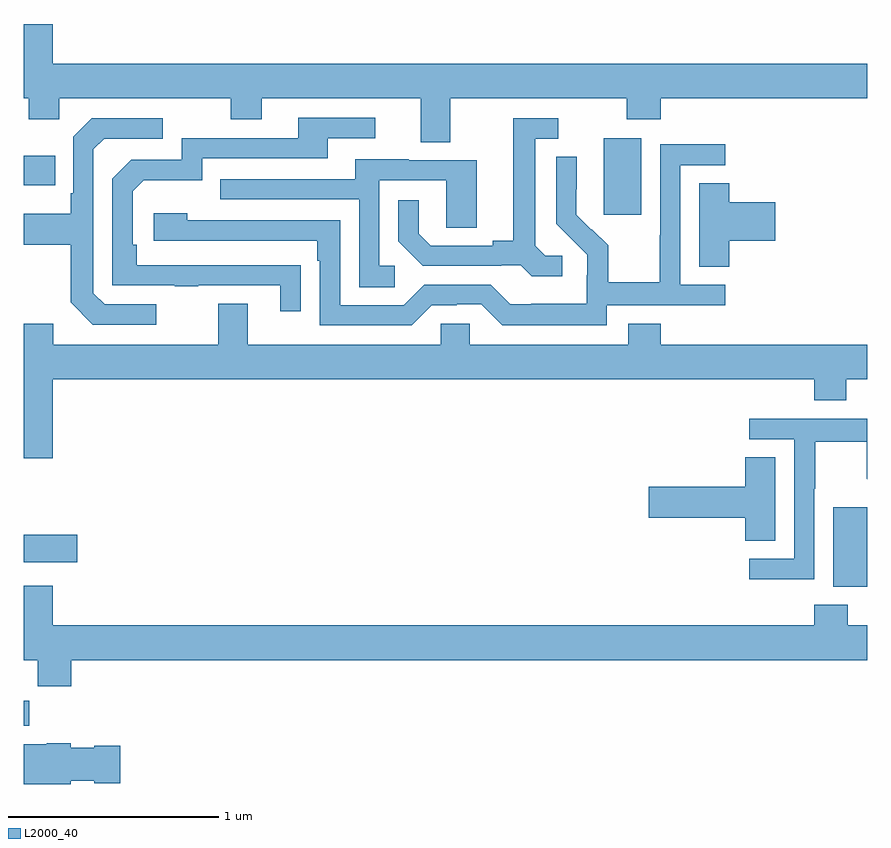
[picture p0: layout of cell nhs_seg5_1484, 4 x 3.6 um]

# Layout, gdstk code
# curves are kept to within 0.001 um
import gdstk
lib = gdstk.Library(unit=1e-6, precision=1e-09)
def R(c, l, rs):  # rectangles x0, y0, x1, y1
    for r in rs: c.add(gdstk.rectangle(r[:2], r[2:], *l))
def P(c, l, *ps):  # polygons
    for p in ps: c.add(gdstk.Polygon(p, *l))
L2000_40 = (2000, 40)

nhs_seg5_1484 = lib.new_cell('nhs_seg5_1484')
R(nhs_seg5_1484, L2000_40, [(201,851.12,201.026,851.239), (204.839,851.78,205,852.157), (201,851.897,201.253,852.027), (203.75,853.545,203.929,853.906), (201,853.685,201.149,853.825)])
P(nhs_seg5_1484, L2000_40, [(203.023,854.096),(203.86,854.096),(203.86,853.997),(204.02,853.997),(204.02,854.096),(205,854.096),(205,854.26),(201.136,854.26),(201.136,854.449),(201,854.449),(201,854.096),(201.022,854.096),(201.022,853.997),(201.168,853.997),(201.168,854.096),(201.982,854.096),(201.982,853.997),(202.129,853.997),(202.129,854.096),(202.883,854.096),(202.883,853.888),(203.023,853.888)],
  [(202.313,853.304),(201.536,853.305),(201.536,853.402),(201.516,853.402),(201.516,853.656),(201.569,853.709),(201.846,853.709),(201.846,853.812),(202.441,853.812),(202.441,853.908),(202.666,853.908),(202.666,854.004),(202.301,854.004),(202.301,853.908),(201.75,853.908),(201.75,853.806),(201.51,853.806),(201.42,853.716),(201.42,853.209),(201.715,853.209),(201.715,853.204),(201.827,853.204),(201.827,853.209),(202.217,853.209),(202.217,853.086),(202.313,853.086)],
  [(203.554,853.35),(203.472,853.35),(203.425,853.397),(203.425,853.905),(203.536,853.905),(203.536,854.001),(203.321,854.001),(203.321,853.421),(203.225,853.421),(203.225,853.398),(202.93,853.398),(202.873,853.455),(202.873,853.612),(202.776,853.612),(202.776,853.418),(202.892,853.302),(203.264,853.302),(203.264,853.305),(203.358,853.305),(203.41,853.253),(203.554,853.253)],
  [(201.628,853.119),(201.384,853.119),(201.33,853.173),(201.33,853.854),(201.381,853.905),(201.658,853.905),(201.658,854.001),(201.321,854.001),(201.234,853.914),(201.234,853.645),(201.222,853.645),(201.222,853.549),(201,853.549),(201,853.402),(201.222,853.402),(201.222,853.129),(201.327,853.023),(201.628,853.023)],
  [(203.766,853.116),(204.328,853.116),(204.328,853.212),(204.114,853.212),(204.114,853.779),(204.328,853.779),(204.328,853.878),(204.018,853.878),(204.018,853.448),(204.016,853.448),(204.016,853.225),(203.771,853.225),(203.771,853.399),(203.694,853.476),(203.691,853.473),(203.621,853.544),(203.622,853.82),(203.526,853.82),(203.526,853.502),(203.672,853.354),(203.672,853.257),(203.67,853.257),(203.67,853.123),(203.407,853.123),(203.407,853.119),(203.307,853.119),(203.214,853.212),(202.899,853.212),(202.803,853.116),(202.5,853.116),(202.5,853.518),(201.776,853.518),(201.776,853.552),(201.615,853.552),(201.615,853.422),(202.391,853.422),(202.391,853.325),(202.404,853.325),(202.404,853.02),(202.839,853.02),(202.935,853.116),(203.054,853.116),(203.054,853.119),(203.169,853.119),(203.269,853.019),(203.766,853.019)],
  [(202.759,853.302),(202.686,853.302),(202.686,853.707),(203.004,853.707),(203.004,853.483),(203.149,853.483),(203.149,853.803),(202.825,853.803),(202.825,853.807),(202.571,853.807),(202.571,853.713),(201.931,853.713),(201.931,853.617),(202.59,853.617),(202.59,853.201),(202.759,853.201)],
  [(204.347,853.421),(204.565,853.421),(204.565,853.604),(204.347,853.604),(204.347,853.694),(204.203,853.694),(204.203,853.297),(204.347,853.297)],
  [(201.136,852.764),(204.749,852.764),(204.749,852.665),(204.901,852.665),(204.901,852.764),(205,852.764),(205,852.928),(204.02,852.928),(204.02,853.027),(203.867,853.027),(203.867,852.928),(203.115,852.928),(203.115,853.026),(202.977,853.026),(202.977,852.928),(202.063,852.928),(202.063,853.123),(201.923,853.123),(201.923,852.928),(201.139,852.928),(201.139,853.027),(201,853.027),(201,852.39),(201.136,852.39)],
  [(204.75,852.244),(204.753,852.244),(204.753,852.468),(204.997,852.468),(204.997,852.293),(205,852.29),(205,852.576),(204.441,852.576),(204.441,852.48),(204.654,852.48),(204.654,851.913),(204.441,851.913),(204.441,851.815),(204.75,851.815)],
  [(204.565,852.395),(204.422,852.395),(204.422,852.254),(203.964,852.254),(203.964,852.107),(204.422,852.107),(204.422,851.998),(204.565,851.998)],
  [(201,851.432),(201.067,851.432),(201.067,851.308),(201.224,851.308),(201.224,851.432),(205,851.432),(205,851.596),(204.909,851.596),(204.909,851.695),(204.749,851.695),(204.749,851.596),(201.136,851.596),(201.136,851.785),(201,851.785)],
  [(201.222,850.859),(201.333,850.859),(201.333,850.847),(201.457,850.847),(201.457,851.025),(201.333,851.025),(201.333,851.017),(201.222,851.017),(201.222,851.038),(201.108,851.038),(201.108,851.032),(201,851.032),(201,850.844),(201.222,850.844)])

lib.write_gds('nhs_seg5_1484.gds')
